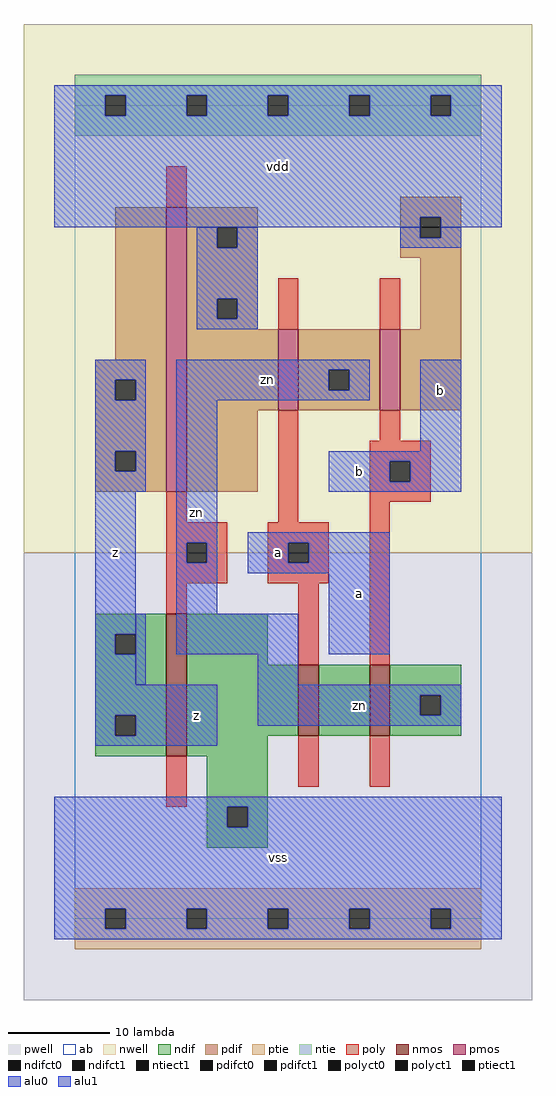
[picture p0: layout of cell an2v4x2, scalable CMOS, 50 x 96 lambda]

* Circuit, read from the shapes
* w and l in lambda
.subckt an2v4x2 a b vdd vss z zn
M1 vss zn z vss nfet w=14 l=2
M2 n1 a vss vss nfet w=7 l=2
M3 zn b n1 vss nfet w=7 l=2
M4 vdd zn z vdd pfet w=28 l=2
M5 zn a vdd vdd pfet w=8 l=2
M6 vdd b zn vdd pfet w=8 l=2
.ends

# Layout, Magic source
magic
tech scmos
<< ab >>
rect 0 0 40 80
<< nwell >>
rect -5 36 45 88
<< pwell >>
rect -5 -8 45 36
<< poly >>
rect 9 70 11 74
rect 20 58 22 63
rect 30 58 32 63
rect 9 39 11 42
rect 20 39 22 50
rect 30 47 32 50
rect 29 45 35 47
rect 29 43 31 45
rect 33 43 35 45
rect 29 41 35 43
rect 9 37 15 39
rect 9 35 11 37
rect 13 35 15 37
rect 9 33 15 35
rect 19 37 25 39
rect 19 35 21 37
rect 23 35 25 37
rect 19 33 25 35
rect 9 30 11 33
rect 22 25 24 33
rect 29 25 31 41
rect 9 11 11 16
rect 22 13 24 18
rect 29 13 31 18
<< ndif >>
rect 2 28 9 30
rect 2 26 4 28
rect 6 26 9 28
rect 2 20 9 26
rect 2 18 4 20
rect 6 18 9 20
rect 2 16 9 18
rect 11 25 19 30
rect 11 18 22 25
rect 24 18 29 25
rect 31 22 38 25
rect 31 20 34 22
rect 36 20 38 22
rect 31 18 38 20
rect 11 16 19 18
rect 13 11 19 16
rect 13 9 15 11
rect 17 9 19 11
rect 13 7 19 9
<< pdif >>
rect 4 55 9 70
rect 2 53 9 55
rect 2 51 4 53
rect 6 51 9 53
rect 2 46 9 51
rect 2 44 4 46
rect 6 44 9 46
rect 2 42 9 44
rect 11 68 18 70
rect 11 66 14 68
rect 16 66 18 68
rect 11 61 18 66
rect 32 69 38 71
rect 32 67 34 69
rect 36 67 38 69
rect 32 65 38 67
rect 11 59 14 61
rect 16 59 18 61
rect 11 58 18 59
rect 34 58 38 65
rect 11 50 20 58
rect 22 54 30 58
rect 22 52 25 54
rect 27 52 30 54
rect 22 50 30 52
rect 32 50 38 58
rect 11 42 18 50
<< alu1 >>
rect -2 81 42 82
rect -2 79 3 81
rect 5 79 11 81
rect 13 79 19 81
rect 21 79 27 81
rect 29 79 35 81
rect 37 79 42 81
rect -2 69 42 79
rect -2 68 34 69
rect 36 68 42 69
rect 2 53 7 55
rect 2 51 4 53
rect 6 51 7 53
rect 2 46 7 51
rect 2 44 4 46
rect 6 44 7 46
rect 2 42 7 44
rect 2 28 6 42
rect 34 46 38 55
rect 25 45 38 46
rect 25 43 31 45
rect 33 43 38 45
rect 25 42 38 43
rect 17 37 31 38
rect 17 35 21 37
rect 23 35 31 37
rect 17 34 31 35
rect 2 26 4 28
rect 2 23 6 26
rect 25 26 31 34
rect 2 20 14 23
rect 2 18 4 20
rect 6 18 14 20
rect 2 17 14 18
rect -2 11 42 12
rect -2 9 15 11
rect 17 9 42 11
rect -2 1 42 9
rect -2 -1 3 1
rect 5 -1 11 1
rect 13 -1 19 1
rect 21 -1 27 1
rect 29 -1 35 1
rect 37 -1 42 1
rect -2 -2 42 -1
<< ptie >>
rect 0 1 40 3
rect 0 -1 3 1
rect 5 -1 11 1
rect 13 -1 19 1
rect 21 -1 27 1
rect 29 -1 35 1
rect 37 -1 40 1
rect 0 -3 40 -1
<< ntie >>
rect 0 81 40 83
rect 0 79 3 81
rect 5 79 11 81
rect 13 79 19 81
rect 21 79 27 81
rect 29 79 35 81
rect 37 79 40 81
rect 0 77 40 79
<< nmos >>
rect 9 16 11 30
rect 22 18 24 25
rect 29 18 31 25
<< pmos >>
rect 9 42 11 70
rect 20 50 22 58
rect 30 50 32 58
<< polyct0 >>
rect 11 35 13 37
<< polyct1 >>
rect 31 43 33 45
rect 21 35 23 37
<< ndifct0 >>
rect 34 20 36 22
<< ndifct1 >>
rect 4 26 6 28
rect 4 18 6 20
rect 15 9 17 11
<< ntiect1 >>
rect 3 79 5 81
rect 11 79 13 81
rect 19 79 21 81
rect 27 79 29 81
rect 35 79 37 81
<< ptiect1 >>
rect 3 -1 5 1
rect 11 -1 13 1
rect 19 -1 21 1
rect 27 -1 29 1
rect 35 -1 37 1
<< pdifct0 >>
rect 14 66 16 68
rect 34 67 36 68
rect 14 59 16 61
rect 25 52 27 54
<< pdifct1 >>
rect 4 51 6 53
rect 4 44 6 46
rect 34 68 36 69
<< alu0 >>
rect 12 66 14 68
rect 16 66 18 68
rect 32 67 34 68
rect 36 67 38 68
rect 32 66 38 67
rect 12 61 18 66
rect 12 59 14 61
rect 16 59 18 61
rect 12 58 18 59
rect 10 54 29 55
rect 10 52 25 54
rect 27 52 29 54
rect 10 51 29 52
rect 10 37 14 51
rect 10 35 11 37
rect 13 35 14 37
rect 10 30 14 35
rect 6 23 7 30
rect 10 26 22 30
rect 18 23 22 26
rect 18 22 38 23
rect 18 20 34 22
rect 36 20 38 22
rect 18 19 38 20
<< labels >>
rlabel alu0 12 40 12 40 6 zn
rlabel alu0 19 53 19 53 6 zn
rlabel alu0 28 21 28 21 6 zn
rlabel alu1 4 36 4 36 6 z
rlabel alu1 12 20 12 20 6 z
rlabel alu1 20 6 20 6 6 vss
rlabel alu1 20 36 20 36 6 a
rlabel alu1 28 32 28 32 6 a
rlabel alu1 28 44 28 44 6 b
rlabel alu1 20 74 20 74 6 vdd
rlabel alu1 36 52 36 52 6 b
<< end >>
